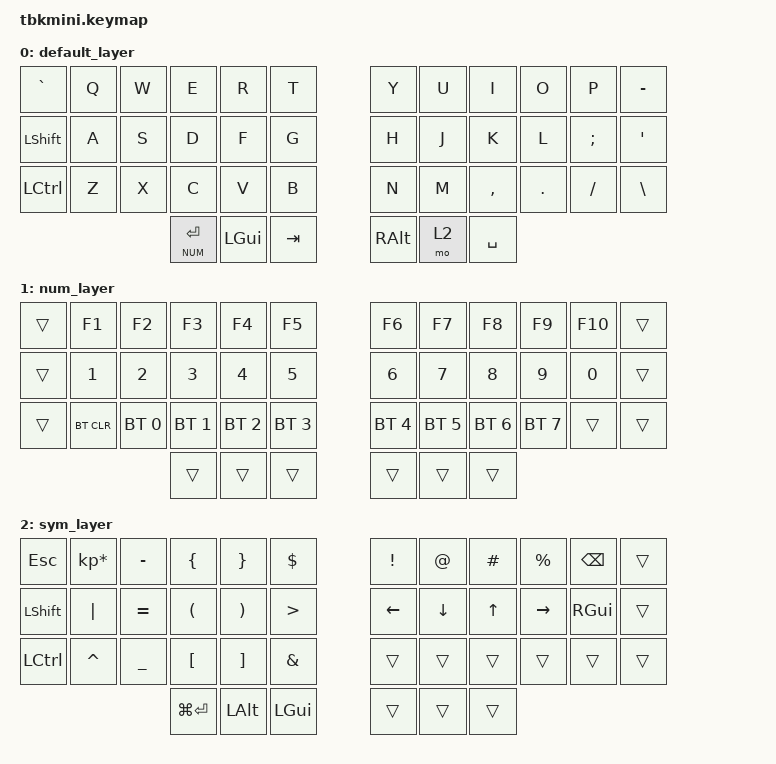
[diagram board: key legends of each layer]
#include <behaviors.dtsi>
#include <dt-bindings/zmk/keys.h>
#include <dt-bindings/zmk/bt.h>
#include <dt-bindings/zmk/ext_power.h>

#define DEFAULT 0
#define NUM 1
#define SYM 2

&lt {
  tapping-term-ms = <300>;
  quick_tap_ms = <200>;
  flavor = "hold-preferred";
};

&caps_word {
  continue-list = <UNDERSCORE MINUS BACKSPACE DELETE>;
};

/ {
  chosen {
    zmk,matrix_transform = &skeletyl_transform;
  };

  keymap {
        compatible = "zmk,keymap";
        default_layer {
			    bindings = <
	        &kp GRAVE &kp Q &kp W     &kp E    &kp R   &kp T          &kp Y &kp U  &kp I     &kp O   &kp P  	   &kp MINUS
	        &kp LSHFT &kp A &kp S     &kp D    &kp F   &kp G          &kp H &kp J  &kp K     &kp L   &kp SEMI    &kp SQT
	        &kp LCTRL &kp Z &kp X     &kp C    &kp V   &kp B          &kp N &kp M  &kp COMMA &kp DOT &kp FSLH    &kp BSLH
	                        &lt NUM RET   &kp LGUI   &kp TAB            &kp RALT   &mo 2   &kp SPACE   
			    >;
		    };
        num_layer {
            bindings = <
	          &trans &kp F1     &kp F2        &kp F3       &kp F4       &kp F5                     &kp F6            &kp F7       &kp F8        &kp F9        &kp F10   &trans
	          &trans &kp N1     &kp N2        &kp N3       &kp N4       &kp N5                     &kp N6            &kp N7       &kp N8        &kp N9        &kp N0    &trans
            &trans &bt BT_CLR &bt BT_SEL 0  &bt BT_SEL 1 &bt BT_SEL 2 &bt BT_SEL 3               &bt BT_SEL 4      &bt BT_SEL 5 &bt BT_SEL 6  &bt BT_SEL 7  &trans    &trans
	                                                             &trans  &trans   &trans            &trans  &trans  &trans
          >;
        };
        sym_layer {
            bindings = <
	          &kp ESC   &kp KP_MULTIPLY &kp MINUS  &kp LBRC   &kp RBRC  &kp DOLLAR         &kp EXCL   &kp AT     &kp HASH   &kp PRCNT &kp BSPC   &trans
	          &kp LSHFT &kp PIPE        &kp EQUAL  &kp LPAR   &kp RPAR  &kp GT             &kp LEFT   &kp DOWN   &kp UP     &kp RIGHT &kp RGUI   &trans
	          &kp LCTRL &kp CARET       &kp UNDER  &kp LBKT   &kp RBKT  &kp AMPS           &trans     &trans     &trans     &trans    &trans     &trans
	                                                    &kp LG(RET)   &kp LALT   &kp LGUI          &trans &trans &trans
            >;
        };
    };
};
